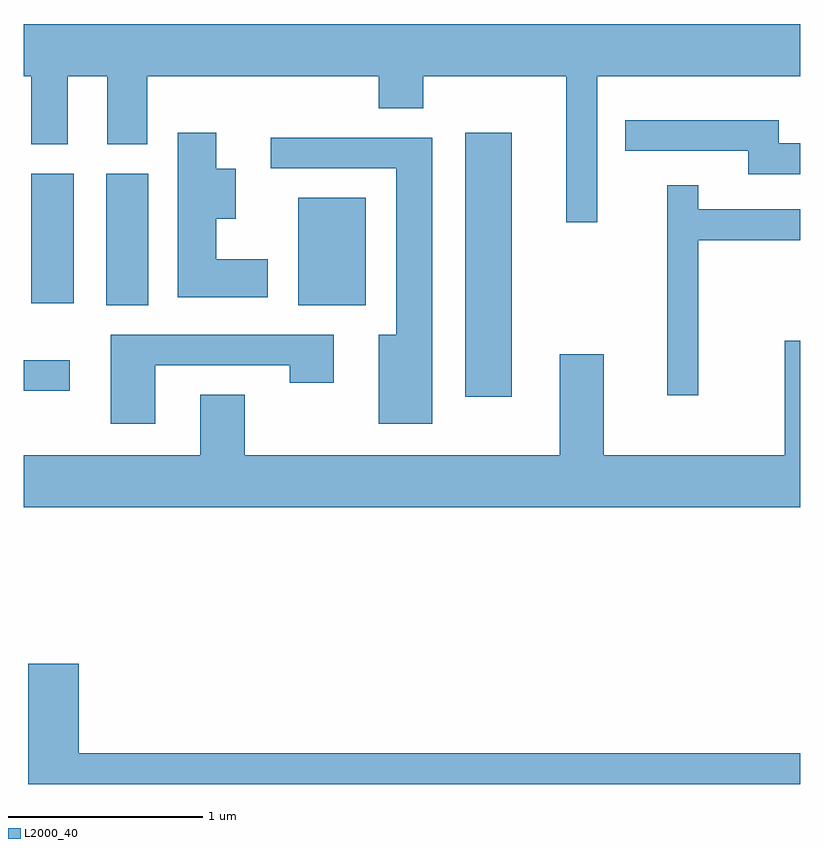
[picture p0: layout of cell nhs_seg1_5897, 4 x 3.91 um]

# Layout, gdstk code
import gdstk
lib = gdstk.Library(unit=1e-6, precision=1e-09)
def R(c, l, rs):  # rectangles x0, y0, x1, y1
    for r in rs: c.add(gdstk.rectangle(r[:2], r[2:], *l))
def P(c, l, *ps):  # polygons
    for p in ps: c.add(gdstk.Polygon(p, *l))
L2000_40 = (2000, 40)

nhs_seg1_5897 = lib.new_cell('nhs_seg1_5897')
R(nhs_seg1_5897, L2000_40, [(365.886,855.746,366.124,857.104), (363.611,855.776,363.848,855.934), (364.036,856.216,364.254,856.894), (365.026,856.216,365.374,856.769), (363.651,856.226,363.869,856.894)])
P(nhs_seg1_5897, L2000_40, [(366.564,857.396),(367.611,857.396),(367.611,857.664),(363.611,857.664),(363.611,857.396),(363.651,857.396),(363.651,857.046),(363.839,857.046),(363.839,857.396),(364.041,857.396),(364.041,857.046),(364.249,857.046),(364.249,857.396),(365.441,857.396),(365.441,857.231),(365.669,857.231),(365.669,857.396),(366.406,857.396),(366.406,856.643),(366.564,856.643)],
  [(367.611,857.049),(367.499,857.049),(367.499,857.169),(366.708,857.169),(366.708,857.011),(367.341,857.011),(367.341,856.891),(367.611,856.891)],
  [(364.869,856.454),(364.604,856.454),(364.604,856.661),(364.704,856.661),(364.704,856.919),(364.604,856.919),(364.604,857.104),(364.406,857.104),(364.406,856.256),(364.869,856.256)],
  [(365.714,857.079),(364.883,857.079),(364.883,856.921),(365.531,856.921),(365.531,856.064),(365.441,856.064),(365.441,855.606),(365.714,855.606)],
  [(367.084,856.551),(367.611,856.551),(367.611,856.709),(367.084,856.709),(367.084,856.833),(366.926,856.833),(366.926,855.753),(367.084,855.753)],
  [(364.289,855.906),(364.981,855.906),(364.981,855.816),(365.209,855.816),(365.209,856.064),(364.061,856.064),(364.061,855.606),(364.289,855.606)],
  [(367.611,856.034),(367.531,856.034),(367.531,855.444),(366.599,855.444),(366.599,855.964),(366.371,855.964),(366.371,855.444),(364.749,855.444),(364.749,855.754),(364.521,855.754),(364.521,855.444),(363.611,855.444),(363.611,855.176),(367.611,855.176)],
  [(367.611,853.909),(363.894,853.909),(363.894,854.369),(363.636,854.369),(363.636,853.751),(367.611,853.751)])

lib.write_gds('nhs_seg1_5897.gds')
